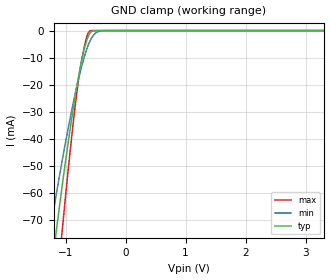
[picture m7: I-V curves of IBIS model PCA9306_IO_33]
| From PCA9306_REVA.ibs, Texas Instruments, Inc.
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[Model]   PCA9306_IO_33
Model_type  Terminator
| variable   typ   min   max
C_comp   2.58pF   2.18pF   3.16pF
| C_tri-state   2.58pF   2.18pF   3.16pF
[Temperature Range]   40   100   -40
| Ambient temperature   25   85   -40
[Voltage range]   3.3   3   3.6
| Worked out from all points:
|   GND clamp passes 1 mA (typ) near -0.59 V on its own axis
[GND Clamp]
| PCA9306_IO_33
|   Voltage   I(typ)   I(min)   I(max)
-3.3V     -531.1mA   -415.7mA   -706.1mA
-1.285V   -97.6mA    -78.12mA   -129.7mA
-1.25V    -91.19mA   -73.31mA   -120.9mA
-1.15V    -73.36mA   -59.94mA   -96.23mA
-1.06V    -58.02mA   -48.48mA   -74.88mA
-885mV    -30.71mA   -28.14mA   -36.69mA
-790mV    -17.89mA   -18.51mA   -19.31mA
-680mV    -6.109mA   -9.157mA   -5.225mA
-595mV    -1.038mA   -3.966mA   -104uA
-485mV    -31.54uA   -706.8uA   -862.7nA
-340mV    -334.3nA   -23.07uA   -2.673nA
3.3V      35.08pA    2.903nA    15.72pA
